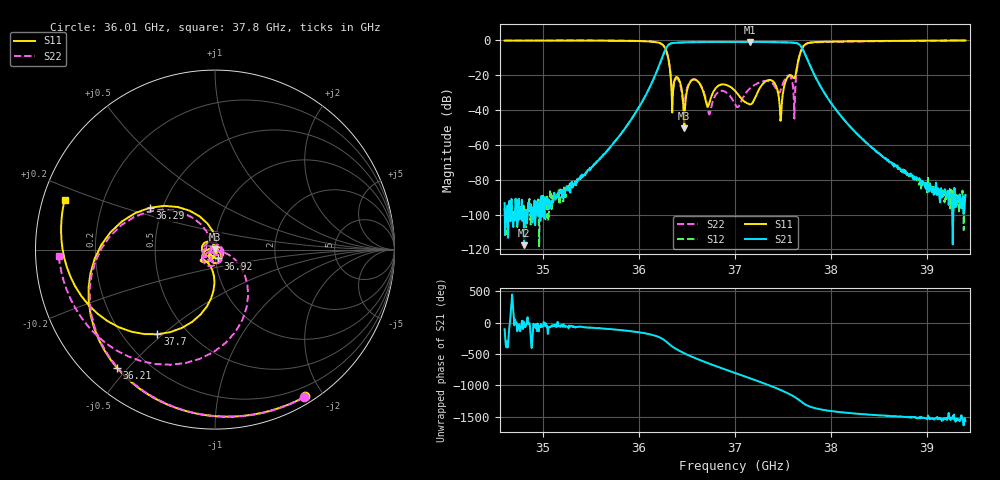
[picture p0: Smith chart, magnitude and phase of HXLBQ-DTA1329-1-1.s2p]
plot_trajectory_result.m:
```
function plot_trajectory_result(result, cfg)
%%%%%%%%%%%%%%%%%%%%%%%%%%%%%%%%%%%%%%%%%%%%%%%%%%%%%%%%%%%%%%%%%%%%%%%%%%%
% 统一轨迹结果绘图与导出
% 根据 cfg.enable_adaptive 和 cfg.cfg_refine 自动选择绘图模式
%%%%%%%%%%%%%%%%%%%%%%%%%%%%%%%%%%%%%%%%%%%%%%%%%%%%%%%%%%%%%%%%%%%%%%%%%%%

pp = trajectory_postprocess();
lib_dir = fileparts(mfilename('fullpath'));
script_dir = fileparts(lib_dir);   % ex/
final = result.final;

% S2P 原始群时延曲线（与 plot_s2p_group_delay_curve.m 同源）
s2p_file = fullfile(script_dir, 'data', 'HXLBQ-DTA1329-1-1.s2p');
[f_s2p_hz, tau_s2p_s] = read_s21_group_delay_from_s2p(s2p_file);
has_s2p_curve = ~isempty(f_s2p_hz) && ~isempty(tau_s2p_s);

if has_s2p_curve
    mask_view = f_s2p_hz >= 36.5e9 & f_s2p_hz <= 37.5e9;
    if any(mask_view)
        tau_view_ns = tau_s2p_s(mask_view) * 1e9;
        fprintf('\n[s2p curve] 36.5-37.5 GHz, tau_mid=%.2f ns, tau_peak=%.2f ns\n', ...
            median(tau_view_ns), max(tau_view_ns));
    end
else
    warning('plot_trajectory_result: cannot read s2p curve: %s', s2p_file);
end

figure('Color', 'w', 'Position', [100, 100, 960, 540]);
hold on;

if cfg.enable_adaptive
    % 基础散点（灰色背景）
    scatter(result.base_cal.f_probe / 1e9, result.base_cal.tau * 1e9, 28, ...
        [0.80 0.80 0.80], 'filled', ...
        'MarkerFaceAlpha', 0.22, 'MarkerEdgeColor', 'none');

    mask_base = final.source_code == 1;
    mask_adapt = final.source_code == 2;
    mask_dense = final.source_code == 3;

    h_base = scatter(final.f_probe(mask_base) / 1e9, final.tau(mask_base) * 1e9, ...
        42, [0.16 0.46 0.72], 'filled', 'MarkerFaceAlpha', 0.90, ...
        'MarkerEdgeColor', [0.08 0.08 0.08], 'LineWidth', 0.4);

    h_adapt = scatter(final.f_probe(mask_adapt) / 1e9, final.tau(mask_adapt) * 1e9, ...
        50, [0.90 0.50 0.12], 'filled', 'MarkerFaceAlpha', 0.94, ...
        'MarkerEdgeColor', [0.08 0.08 0.08], 'LineWidth', 0.4);

    legend_handles = [h_base, h_adapt];
    legend_labels = {'固定窗口散点', '自适应窗口散点'};

    if any(mask_dense)
        h_dense = scatter(final.f_probe(mask_dense) / 1e9, final.tau(mask_dense) * 1e9, ...
            58, [0.18 0.62 0.38], 'filled', 'MarkerFaceAlpha', 0.96, ...
            'MarkerEdgeColor', [0.08 0.08 0.08], 'LineWidth', 0.4);
        switch cfg.cfg_refine.mode
            case 'mirror'
                rebuild_label = '右边缘镜像重建';
            case 'data_driven'
                rebuild_label = '右侧局部连续性重建';
            otherwise
                rebuild_label = '边缘重建';
        end


        legend_handles(end + 1) = h_dense;
        legend_labels{end + 1} = rebuild_label;
    end

    if has_s2p_curve
        h_s2p = plot(f_s2p_hz / 1e9, tau_s2p_s * 1e9, '-', ...
            'Color', [0.78 0.12 0.12], 'LineWidth', 1.9);
        legend_handles(end + 1) = h_s2p;
        legend_labels{end + 1} = 'S2P群时延曲线';
    end

    xline(cfg.cfg_hybrid.f_flat_lo / 1e9, '--', 'Color', [0.35 0.35 0.35], 'LineWidth', 1.0);
    xline(cfg.cfg_hybrid.f_flat_hi / 1e9, '--', 'Color', [0.35 0.35 0.35], 'LineWidth', 1.0);
else
    h_simple = scatter(final.f_probe / 1e9, final.tau * 1e9, 40, ...
        [0.55 0.55 0.55], 'filled', ...
        'MarkerFaceAlpha', 0.5, 'MarkerEdgeColor', 'none');

    legend_handles = h_simple;
    legend_labels = {'ESPRIT散点'};

    if has_s2p_curve
        h_s2p = plot(f_s2p_hz / 1e9, tau_s2p_s * 1e9, '-', ...
            'Color', [0.78 0.12 0.12], 'LineWidth', 1.9);
        legend_handles(end + 1) = h_s2p;
        legend_labels{end + 1} = 'S2P群时延曲线';
    end
end

hold off;

grid on;
xlabel('瞬时探测频率 (GHz)', 'FontSize', 12, 'FontWeight', 'bold');
ylabel('群时延 \tau (ns)', 'FontSize', 12, 'FontWeight', 'bold');
title(cfg.title_str, 'FontSize', 14);
set(gca, 'FontName', 'SimHei', 'FontSize', 11, 'GridAlpha', 0.25);

if isfield(cfg, 'xlim_range') && numel(cfg.xlim_range) == 2
    xlim(cfg.xlim_range);
else
    xlim([36.5, 37.5]);
end

% legend(legend_handles, legend_labels, 'Location', 'northeast', 'FontSize', 11);

try
    pp.export_figure(gcf, cfg.export_name, 14, 300);
catch ME
    warning('plot_trajectory_result: export failed (%s)', ME.message);
end
pp.print_diagnostics(final, cfg.export_name, cfg);
print_s2p_deviation_report(final, cfg);

mask_right = final.f_probe > cfg.cfg_hybrid.f_flat_hi;
if any(mask_right)
    fprintf('\n  -- 右侧 (>%.2f GHz) --\n', cfg.cfg_hybrid.f_flat_hi / 1e9);
    fprintf('  点数: %d, 时延: %.2f - %.2f ns\n', ...
        sum(mask_right), min(final.tau(mask_right)) * 1e9, max(final.tau(mask_right)) * 1e9);
end

fprintf('\n频率轴绘图已完成。\n');
end

function [f_hz, tau_s] = read_s21_group_delay_from_s2p(s2p_file)
fid = fopen(s2p_file, 'r');
if fid < 0
    f_hz = [];
    tau_s = [];
    return;
end

cleaner = onCleanup(@() fclose(fid));

unit_scale = 1;
data_fmt = 'DB';
buf = [];
f_hz = [];
s21_a = [];
s21_b = [];

while ~feof(fid)
    line = strtrim(fgetl(fid));
    if ~ischar(line) || isempty(line)
        continue;
    end

    if startsWith(line, '!')
        continue;
    end

    if startsWith(line, '#')
        line_upper = upper([' ' line ' ']);
        if contains(line_upper, ' GHZ ')
            unit_scale = 1e9;
        elseif contains(line_upper, ' MHZ ')
            unit_scale = 1e6;
        elseif contains(line_upper, ' KHZ ')
            unit_scale = 1e3;
        else
            unit_scale = 1;
        end

        if contains(line_upper, ' RI ')
            data_fmt = 'RI';
        elseif contains(line_upper, ' MA ')
            data_fmt = 'MA';
        else
            data_fmt = 'DB';
        end
        continue;
    end

    nums = sscanf(line, '%f').';
    if isempty(nums)
        continue;
    end

    buf = [buf, nums]; %#ok<AGROW>
    while numel(buf) >= 9
        row = buf(1:9);
        buf = buf(10:end);
        f_hz(end + 1, 1) = row(1) * unit_scale; %#ok<AGROW>
        s21_a(end + 1, 1) = row(4); %#ok<AGROW>
        s21_b(end + 1, 1) = row(5); %#ok<AGROW>
    end
end

if isempty(f_hz)
    tau_s = [];
    return;
end

switch upper(data_fmt)
    case 'RI'
        s21 = s21_a + 1i * s21_b;
    case 'MA'
        s21 = s21_a .* exp(1i * deg2rad(s21_b));
    otherwise
        s21 = 10 .^ (s21_a / 20) .* exp(1i * deg2rad(s21_b));
end

phase_rad = unwrap(angle(s21));
tau_s = -gradient(phase_rad, f_hz) / (2 * pi);

mask_ok = isfinite(f_hz) & isfinite(tau_s);
f_hz = f_hz(mask_ok);
tau_s = tau_s(mask_ok);
end
```
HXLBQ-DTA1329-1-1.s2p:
!Keysight Technologies,N5227B,US60211109,A.19.55.13
!Date: Tuesday, March 03, 2026 18:18:06
!Correction: S11(Cdelta 2-Port  )
!S21(Cdelta 2-Port  )
!S12(Cdelta 2-Port  )
!S22(Cdelta 2-Port  )
!S2P File: Measurements: S11, S21, S12, S22:
# Hz S  dB  R 50
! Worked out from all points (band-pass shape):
!   801 points, 34.6 GHz to 39.4 GHz, reference 50 ohm
!   highest |S21| = -0.83 dB at 37.16 GHz (marker M1); lowest = -117.6 dB at 34.8 GHz (marker M2)
!   |S21| within 3 dB of the highest: 36.29 GHz to 37.69 GHz (1.403 GHz wide, 3.79 % of centre)
!   lowest |S11| = -50.5 dB at 36.47 GHz (marker M3), VSWR 1.01, Z = 50.2 + j0.238 ohm
!   |S11| at or under -10 dB: 36.3 GHz to 37.67 GHz (1.362 GHz wide, 3.68 % of centre)
!   |S22| runs from -44.9 to 0.0 dB; largest |S21 - S12| = 0.00091
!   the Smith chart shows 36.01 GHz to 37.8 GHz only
!   S11 on the Smith chart (normalised r, x): 36.01 GHz: 0.08, -1.79; 36.21 GHz: 0.09, -0.47; 36.29 GHz: 0.42, +0.24; 36.92 GHz: 1.03, -0.10; 37.7 GHz: 0.34, -0.48; 37.8 GHz: 0.06, +0.16
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3.46e10  -0.09 76.6  -93.45 -105.1  -96.25 18.0  -0.08 79.7
3.4804e10  -0.07 64.3  -117.64 -60.0  -100.18 79.0  -0.06 67.1
3.601e10  -0.35 -58.4  -37.40 -155.6  -37.40 -155.6  -0.34 -58.9
3.6208e10  -1.35 -129.7  -14.63 130.1  -14.64 130.1  -1.39 -130.0
3.6292e10  -7.28 147.4  -3.58 46.6  -3.58 46.6  -7.28 151.0
3.6472e10  -50.46 52.2  -1.08 -128.7  -1.09 -128.7  -37.43 31.9
3.6916e10  -25.70 -70.8  -0.84 -37.6  -0.84 -37.7  -30.15 -82.3
3.7e10  -28.91 -128.3  -0.84 -83.2  -0.84 -83.2  -36.54 -154.1
3.7156e10  -36.74 31.4  -0.83 -167.8  -0.83 -167.8  -27.48 6.7
3.7696e10  -4.87 -124.3  -4.14 170.3  -4.15 170.3  -4.88 -90.7
3.7804e10  -1.09 161.6  -17.15 87.1  -17.16 87.1  -1.19 -177.8
3.94e10  -0.01 -23.2  -88.67 -131.5  -88.71 -159.8  -0.05 -23.2
